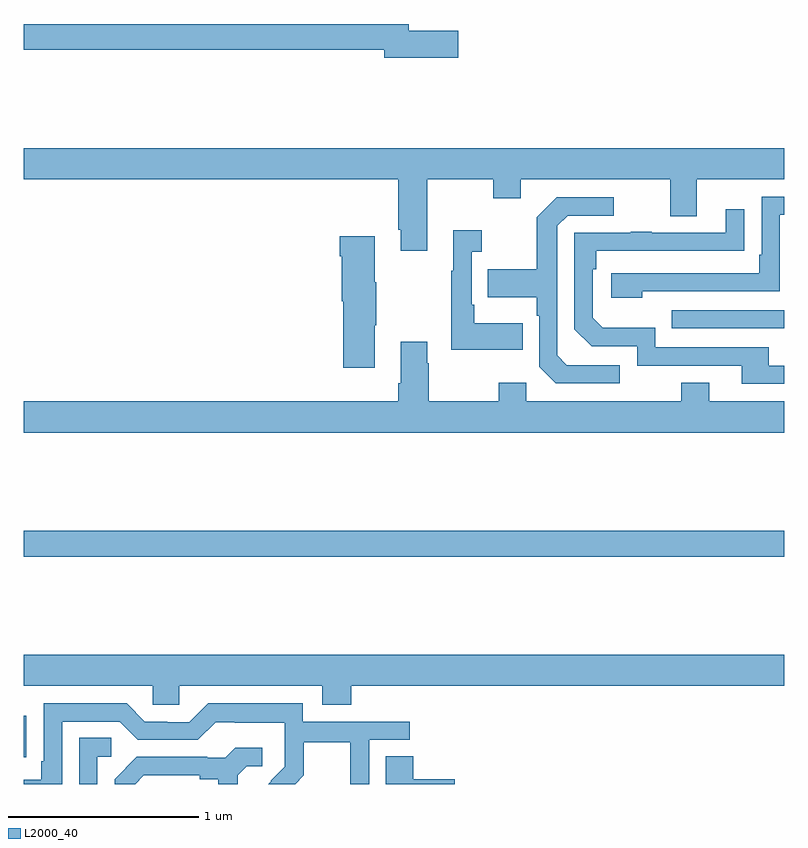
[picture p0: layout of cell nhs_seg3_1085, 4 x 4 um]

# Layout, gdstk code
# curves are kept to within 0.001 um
import gdstk
lib = gdstk.Library(unit=1e-6, precision=1e-09)
def R(c, l, rs):  # rectangles x0, y0, x1, y1
    for r in rs: c.add(gdstk.rectangle(r[:2], r[2:], *l))
def P(c, l, *ps):  # polygons
    for p in ps: c.add(gdstk.Polygon(p, *l))
L2000_40 = (2000, 40)

nhs_seg3_1085 = lib.new_cell('nhs_seg3_1085')
R(nhs_seg3_1085, L2000_40, [(167,700.54,167.015,700.759), (167,701.596,171,701.732), (170.407,702.795,171,702.891)])
P(nhs_seg3_1085, L2000_40, [(169.285,704.36),(169.024,704.36),(169.024,704.396),(167,704.396),(167,704.26),(168.896,704.26),(168.896,704.218),(169.285,704.218)],
  [(169.123,703.58),(169.468,703.58),(169.468,703.481),(169.615,703.481),(169.615,703.58),(170.399,703.58),(170.399,703.386),(170.539,703.386),(170.539,703.58),(171,703.58),(171,703.744),(167,703.744),(167,703.58),(168.971,703.58),(168.971,703.315),(168.983,703.315),(168.983,703.203),(169.123,703.203)],
  [(170.252,702.99),(170.976,702.99),(170.976,703.392),(171,703.392),(171,703.488),(170.88,703.488),(170.88,703.183),(170.867,703.183),(170.867,703.086),(170.091,703.086),(170.091,702.956),(170.252,702.956)],
  [(170.134,702.603),(169.857,702.603),(169.806,702.654),(169.806,703.335),(169.86,703.389),(170.104,703.389),(170.104,703.485),(169.803,703.485),(169.698,703.379),(169.698,703.107),(169.441,703.107),(169.441,702.959),(169.698,702.959),(169.698,702.863),(169.71,702.863),(169.71,702.594),(169.797,702.507),(170.134,702.507)],
  [(171,702.6),(170.917,702.6),(170.917,702.696),(170.322,702.696),(170.322,702.799),(170.045,702.799),(169.992,702.852),(169.992,703.106),(170.012,703.106),(170.012,703.203),(170.789,703.204),(170.789,703.423),(170.693,703.423),(170.693,703.299),(170.303,703.299),(170.303,703.304),(170.191,703.304),(170.191,703.299),(169.896,703.299),(169.896,702.792),(169.986,702.702),(170.226,702.702),(170.226,702.6),(170.777,702.6),(170.777,702.504),(171,702.504)],
  [(169.625,702.823),(169.369,702.823),(169.369,702.919),(169.356,702.919),(169.356,703.199),(169.408,703.199),(169.408,703.312),(169.259,703.312),(169.259,703.099),(169.248,703.099),(169.248,702.683),(169.625,702.683)],
  [(168.847,702.811),(168.855,702.811),(168.855,703.039),(168.847,703.039),(168.847,703.279),(168.662,703.279),(168.662,703.175),(168.674,703.175),(168.674,702.939),(168.68,702.939),(168.68,702.588),(168.847,702.588)],
  [(171,702.412),(170.605,702.412),(170.605,702.511),(170.458,702.511),(170.458,702.412),(169.644,702.412),(169.644,702.511),(169.498,702.511),(169.498,702.412),(169.131,702.412),(169.131,702.611),(169.123,702.611),(169.123,702.724),(168.983,702.724),(168.983,702.508),(168.971,702.508),(168.971,702.412),(167,702.412),(167,702.248),(171,702.248)],
  [(168.722,700.916),(171,700.916),(171,701.08),(167,701.08),(167,700.916),(167.679,700.916),(167.679,700.818),(167.817,700.818),(167.817,700.916),(168.569,700.916),(168.569,700.817),(168.722,700.817)],
  [(167.202,700.728),(167.505,700.728),(167.601,700.632),(167.916,700.632),(168.009,700.725),(168.109,700.725),(168.109,700.721),(168.372,700.721),(168.372,700.587),(168.374,700.587),(168.374,700.49),(168.3,700.416),(168.301,700.415),(168.286,700.4),(168.428,700.4),(168.473,700.445),(168.473,700.62),(168.718,700.62),(168.718,700.4),(168.816,700.4),(168.816,700.632),(169.03,700.632),(169.03,700.728),(168.468,700.728),(168.468,700.825),(167.971,700.825),(167.871,700.725),(167.756,700.725),(167.756,700.728),(167.637,700.728),(167.541,700.824),(167.106,700.824),(167.106,700.519),(167.093,700.519),(167.093,700.422),(167,700.422),(167,700.4),(167.202,700.4)],
  [(167.388,700.542),(167.461,700.542),(167.461,700.643),(167.292,700.643),(167.292,700.4),(167.388,700.4)],
  [(167.632,700.446),(167.927,700.446),(167.927,700.424),(168.023,700.424),(168.023,700.4),(168.127,700.4),(168.127,700.447),(168.174,700.494),(168.256,700.494),(168.256,700.591),(168.112,700.591),(168.06,700.539),(167.966,700.539),(167.966,700.542),(167.594,700.542),(167.478,700.426),(167.478,700.4),(167.586,700.4)],
  [(169.267,700.424),(169.049,700.424),(169.049,700.547),(168.905,700.547),(168.905,700.4),(169.267,700.4)])

lib.write_gds('nhs_seg3_1085.gds')
